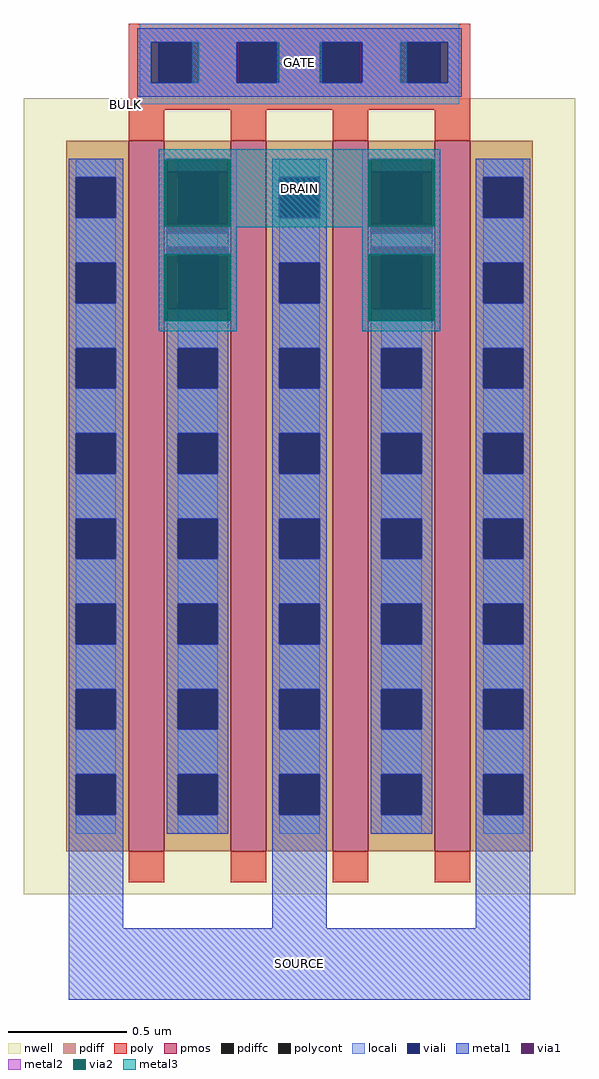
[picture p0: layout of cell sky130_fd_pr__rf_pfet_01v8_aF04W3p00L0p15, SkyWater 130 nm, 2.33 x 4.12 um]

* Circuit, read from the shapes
.subckt sky130_fd_pr__rf_pfet_01v8_aF04W3p00L0p15 DRAIN GATE SOURCE BULK
XM1 DRAIN GATE SOURCE BULK sky130_fd_pr__pfet_01v8 w=3 l=0.15 m=4
.ends

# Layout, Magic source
magic
tech sky130A
magscale 1 2
<< nwell >>
rect 0 0 466 672
<< pmos >>
rect 89 36 119 636
rect 175 36 205 636
rect 261 36 291 636
rect 347 36 377 636
<< pdiff >>
rect 36 605 89 636
rect 36 571 44 605
rect 78 571 89 605
rect 36 533 89 571
rect 36 499 44 533
rect 78 499 89 533
rect 36 461 89 499
rect 36 427 44 461
rect 78 427 89 461
rect 36 389 89 427
rect 36 355 44 389
rect 78 355 89 389
rect 36 317 89 355
rect 36 283 44 317
rect 78 283 89 317
rect 36 245 89 283
rect 36 211 44 245
rect 78 211 89 245
rect 36 173 89 211
rect 36 139 44 173
rect 78 139 89 173
rect 36 101 89 139
rect 36 67 44 101
rect 78 67 89 101
rect 36 36 89 67
rect 119 605 175 636
rect 119 571 130 605
rect 164 571 175 605
rect 119 533 175 571
rect 119 499 130 533
rect 164 499 175 533
rect 119 461 175 499
rect 119 427 130 461
rect 164 427 175 461
rect 119 389 175 427
rect 119 355 130 389
rect 164 355 175 389
rect 119 317 175 355
rect 119 283 130 317
rect 164 283 175 317
rect 119 245 175 283
rect 119 211 130 245
rect 164 211 175 245
rect 119 173 175 211
rect 119 139 130 173
rect 164 139 175 173
rect 119 101 175 139
rect 119 67 130 101
rect 164 67 175 101
rect 119 36 175 67
rect 205 605 261 636
rect 205 571 216 605
rect 250 571 261 605
rect 205 533 261 571
rect 205 499 216 533
rect 250 499 261 533
rect 205 461 261 499
rect 205 427 216 461
rect 250 427 261 461
rect 205 389 261 427
rect 205 355 216 389
rect 250 355 261 389
rect 205 317 261 355
rect 205 283 216 317
rect 250 283 261 317
rect 205 245 261 283
rect 205 211 216 245
rect 250 211 261 245
rect 205 173 261 211
rect 205 139 216 173
rect 250 139 261 173
rect 205 101 261 139
rect 205 67 216 101
rect 250 67 261 101
rect 205 36 261 67
rect 291 605 347 636
rect 291 571 302 605
rect 336 571 347 605
rect 291 533 347 571
rect 291 499 302 533
rect 336 499 347 533
rect 291 461 347 499
rect 291 427 302 461
rect 336 427 347 461
rect 291 389 347 427
rect 291 355 302 389
rect 336 355 347 389
rect 291 317 347 355
rect 291 283 302 317
rect 336 283 347 317
rect 291 245 347 283
rect 291 211 302 245
rect 336 211 347 245
rect 291 173 347 211
rect 291 139 302 173
rect 336 139 347 173
rect 291 101 347 139
rect 291 67 302 101
rect 336 67 347 101
rect 291 36 347 67
rect 377 605 430 636
rect 377 571 388 605
rect 422 571 430 605
rect 377 533 430 571
rect 377 499 388 533
rect 422 499 430 533
rect 377 461 430 499
rect 377 427 388 461
rect 422 427 430 461
rect 377 389 430 427
rect 377 355 388 389
rect 422 355 430 389
rect 377 317 430 355
rect 377 283 388 317
rect 422 283 430 317
rect 377 245 430 283
rect 377 211 388 245
rect 422 211 430 245
rect 377 173 430 211
rect 377 139 388 173
rect 422 139 430 173
rect 377 101 430 139
rect 377 67 388 101
rect 422 67 430 101
rect 377 36 430 67
<< pdiffc >>
rect 44 571 78 605
rect 44 499 78 533
rect 44 427 78 461
rect 44 355 78 389
rect 44 283 78 317
rect 44 211 78 245
rect 44 139 78 173
rect 44 67 78 101
rect 130 571 164 605
rect 130 499 164 533
rect 130 427 164 461
rect 130 355 164 389
rect 130 283 164 317
rect 130 211 164 245
rect 130 139 164 173
rect 130 67 164 101
rect 216 571 250 605
rect 216 499 250 533
rect 216 427 250 461
rect 216 355 250 389
rect 216 283 250 317
rect 216 211 250 245
rect 216 139 250 173
rect 216 67 250 101
rect 302 571 336 605
rect 302 499 336 533
rect 302 427 336 461
rect 302 355 336 389
rect 302 283 336 317
rect 302 211 336 245
rect 302 139 336 173
rect 302 67 336 101
rect 388 571 422 605
rect 388 499 422 533
rect 388 427 422 461
rect 388 355 422 389
rect 388 283 422 317
rect 388 211 422 245
rect 388 139 422 173
rect 388 67 422 101
<< poly >>
rect 89 719 377 735
rect 89 685 114 719
rect 148 685 182 719
rect 216 685 250 719
rect 284 685 318 719
rect 352 685 377 719
rect 89 662 377 685
rect 89 636 119 662
rect 175 636 205 662
rect 261 636 291 662
rect 347 636 377 662
rect 89 10 119 36
rect 175 10 205 36
rect 261 10 291 36
rect 347 10 377 36
<< polycont >>
rect 114 685 148 719
rect 182 685 216 719
rect 250 685 284 719
rect 318 685 352 719
<< locali >>
rect 98 719 368 735
rect 98 685 108 719
rect 148 685 180 719
rect 216 685 250 719
rect 286 685 318 719
rect 358 685 368 719
rect 98 667 368 685
rect 44 605 78 621
rect 44 533 78 571
rect 44 461 78 499
rect 44 389 78 427
rect 44 317 78 355
rect 44 245 78 283
rect 44 173 78 211
rect 44 101 78 139
rect 44 51 78 67
rect 130 605 164 621
rect 130 533 164 571
rect 130 461 164 499
rect 130 389 164 427
rect 130 317 164 355
rect 130 245 164 283
rect 130 173 164 211
rect 130 101 164 139
rect 130 51 164 67
rect 216 605 250 621
rect 216 533 250 571
rect 216 461 250 499
rect 216 389 250 427
rect 216 317 250 355
rect 216 245 250 283
rect 216 173 250 211
rect 216 101 250 139
rect 216 51 250 67
rect 302 605 336 621
rect 302 533 336 571
rect 302 461 336 499
rect 302 389 336 427
rect 302 317 336 355
rect 302 245 336 283
rect 302 173 336 211
rect 302 101 336 139
rect 302 51 336 67
rect 388 605 422 621
rect 388 533 422 571
rect 388 461 422 499
rect 388 389 422 427
rect 388 317 422 355
rect 388 245 422 283
rect 388 173 422 211
rect 388 101 422 139
rect 388 51 422 67
<< viali >>
rect 108 685 114 719
rect 114 685 142 719
rect 180 685 182 719
rect 182 685 214 719
rect 252 685 284 719
rect 284 685 286 719
rect 324 685 352 719
rect 352 685 358 719
rect 44 571 78 605
rect 44 499 78 533
rect 44 427 78 461
rect 44 355 78 389
rect 44 283 78 317
rect 44 211 78 245
rect 44 139 78 173
rect 44 67 78 101
rect 130 571 164 605
rect 130 499 164 533
rect 130 427 164 461
rect 130 355 164 389
rect 130 283 164 317
rect 130 211 164 245
rect 130 139 164 173
rect 130 67 164 101
rect 216 571 250 605
rect 216 499 250 533
rect 216 427 250 461
rect 216 355 250 389
rect 216 283 250 317
rect 216 211 250 245
rect 216 139 250 173
rect 216 67 250 101
rect 302 571 336 605
rect 302 499 336 533
rect 302 427 336 461
rect 302 355 336 389
rect 302 283 336 317
rect 302 211 336 245
rect 302 139 336 173
rect 302 67 336 101
rect 388 571 422 605
rect 388 499 422 533
rect 388 427 422 461
rect 388 355 422 389
rect 388 283 422 317
rect 388 211 422 245
rect 388 139 422 173
rect 388 67 422 101
<< metal1 >>
rect 96 719 370 731
rect 96 685 108 719
rect 142 685 180 719
rect 214 685 252 719
rect 286 685 324 719
rect 358 685 370 719
rect 96 673 370 685
rect 38 605 84 621
rect 38 571 44 605
rect 78 571 84 605
rect 38 533 84 571
rect 38 499 44 533
rect 78 499 84 533
rect 38 461 84 499
rect 38 427 44 461
rect 78 427 84 461
rect 38 389 84 427
rect 38 355 44 389
rect 78 355 84 389
rect 38 317 84 355
rect 38 283 44 317
rect 78 283 84 317
rect 38 245 84 283
rect 38 211 44 245
rect 78 211 84 245
rect 38 173 84 211
rect 38 139 44 173
rect 78 139 84 173
rect 38 101 84 139
rect 38 67 44 101
rect 78 67 84 101
rect 38 -29 84 67
rect 121 610 173 621
rect 121 546 173 558
rect 121 461 173 494
rect 121 427 130 461
rect 164 427 173 461
rect 121 389 173 427
rect 121 355 130 389
rect 164 355 173 389
rect 121 317 173 355
rect 121 283 130 317
rect 164 283 173 317
rect 121 245 173 283
rect 121 211 130 245
rect 164 211 173 245
rect 121 173 173 211
rect 121 139 130 173
rect 164 139 173 173
rect 121 101 173 139
rect 121 67 130 101
rect 164 67 173 101
rect 121 51 173 67
rect 210 605 256 621
rect 210 571 216 605
rect 250 571 256 605
rect 210 533 256 571
rect 210 499 216 533
rect 250 499 256 533
rect 210 461 256 499
rect 210 427 216 461
rect 250 427 256 461
rect 210 389 256 427
rect 210 355 216 389
rect 250 355 256 389
rect 210 317 256 355
rect 210 283 216 317
rect 250 283 256 317
rect 210 245 256 283
rect 210 211 216 245
rect 250 211 256 245
rect 210 173 256 211
rect 210 139 216 173
rect 250 139 256 173
rect 210 101 256 139
rect 210 67 216 101
rect 250 67 256 101
rect 210 -29 256 67
rect 293 610 345 621
rect 293 546 345 558
rect 293 461 345 494
rect 293 427 302 461
rect 336 427 345 461
rect 293 389 345 427
rect 293 355 302 389
rect 336 355 345 389
rect 293 317 345 355
rect 293 283 302 317
rect 336 283 345 317
rect 293 245 345 283
rect 293 211 302 245
rect 336 211 345 245
rect 293 173 345 211
rect 293 139 302 173
rect 336 139 345 173
rect 293 101 345 139
rect 293 67 302 101
rect 336 67 345 101
rect 293 51 345 67
rect 382 605 428 621
rect 382 571 388 605
rect 422 571 428 605
rect 382 533 428 571
rect 382 499 388 533
rect 422 499 428 533
rect 382 461 428 499
rect 382 427 388 461
rect 422 427 428 461
rect 382 389 428 427
rect 382 355 388 389
rect 422 355 428 389
rect 382 317 428 355
rect 382 283 388 317
rect 422 283 428 317
rect 382 245 428 283
rect 382 211 388 245
rect 422 211 428 245
rect 382 173 428 211
rect 382 139 388 173
rect 422 139 428 173
rect 382 101 428 139
rect 382 67 388 101
rect 422 67 428 101
rect 382 -29 428 67
rect 38 -89 428 -29
<< via1 >>
rect 121 605 173 610
rect 121 571 130 605
rect 130 571 164 605
rect 164 571 173 605
rect 121 558 173 571
rect 121 533 173 546
rect 121 499 130 533
rect 130 499 164 533
rect 164 499 173 533
rect 121 494 173 499
rect 293 605 345 610
rect 293 571 302 605
rect 302 571 336 605
rect 336 571 345 605
rect 293 558 345 571
rect 293 533 345 546
rect 293 499 302 533
rect 302 499 336 533
rect 336 499 345 533
rect 293 494 345 499
<< metal2 >>
rect 114 620 180 629
rect 114 564 119 620
rect 175 564 180 620
rect 114 558 121 564
rect 173 558 180 564
rect 114 546 180 558
rect 114 540 121 546
rect 173 540 180 546
rect 114 484 119 540
rect 175 484 180 540
rect 114 475 180 484
rect 286 620 352 629
rect 286 564 291 620
rect 347 564 352 620
rect 286 558 293 564
rect 345 558 352 564
rect 286 546 352 558
rect 286 540 293 546
rect 345 540 352 546
rect 286 484 291 540
rect 347 484 352 540
rect 286 475 352 484
<< via2 >>
rect 119 610 175 620
rect 119 564 121 610
rect 121 564 173 610
rect 173 564 175 610
rect 119 494 121 540
rect 121 494 173 540
rect 173 494 175 540
rect 119 484 175 494
rect 291 610 347 620
rect 291 564 293 610
rect 293 564 345 610
rect 345 564 347 610
rect 291 494 293 540
rect 293 494 345 540
rect 345 494 347 540
rect 291 484 347 494
<< metal3 >>
rect 114 620 352 629
rect 114 564 119 620
rect 175 564 291 620
rect 347 564 352 620
rect 114 563 352 564
rect 114 540 180 563
rect 114 484 119 540
rect 175 484 180 540
rect 114 475 180 484
rect 286 540 352 563
rect 286 484 291 540
rect 347 484 352 540
rect 286 475 352 484
<< labels >>
flabel metal3 s 114 563 352 629 0 FreeSans 400 0 0 0 DRAIN
port 1 nsew
flabel metal1 s 96 673 370 731 0 FreeSans 400 0 0 0 GATE
port 2 nsew
flabel metal1 s 38 -89 428 -29 0 FreeSans 400 0 0 0 SOURCE
port 3 nsew
flabel nwell s 84 663 88 671 0 FreeSans 400 0 0 0 BULK
port 4 nsew
<< properties >>
string GDS_FILE $PDKPATH/libs.ref/sky130_fd_pr/gds/sky130_fd_pr.gds
string GDS_END 9220700
string GDS_START 9210180
string path 0.950 -1.475 10.700 -1.475 
<< end >>
